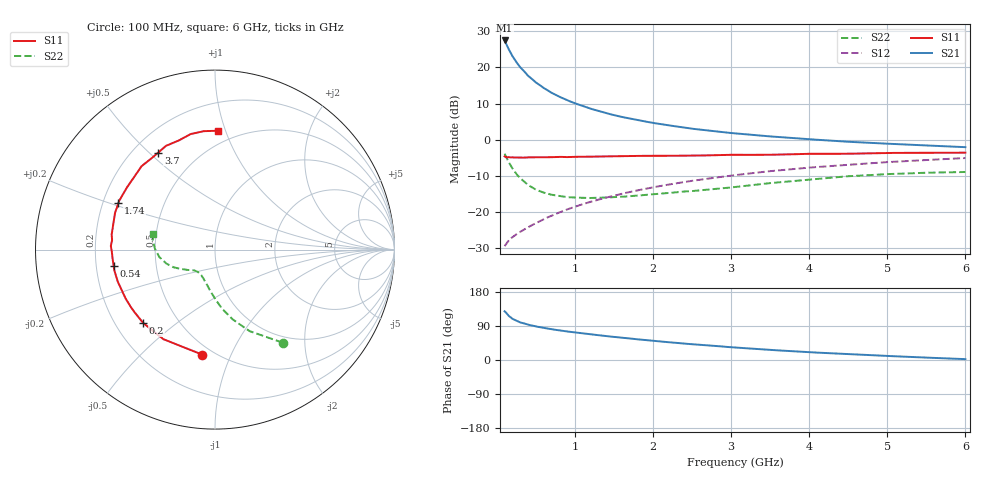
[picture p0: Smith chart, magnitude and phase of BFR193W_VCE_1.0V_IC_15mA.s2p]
! Infineon Technologies  Discrete & RF Semiconductors
! BFR193W
! VCE =  1.0 V,  IC =  15 mA
! Common Emitter S-Parameters:  Nov 2015
# GHz  S  MA  R  50
!  f  S11  S21  S12  S22
! GHz  MAG  ANG  MAG  ANG  MAG  ANG  MAG  ANG
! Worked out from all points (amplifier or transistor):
!   192 points, 100 MHz to 6 GHz, reference 50 ohm
!   highest |S21| = 27.4 dB at 100 MHz (marker M1)
!   |S21| within 3 dB of that: start of sweep to 167.3 MHz
!   unconditionally stable (mu >= 1): 794.5 MHz to 2.752 GHz
!   at 440 MHz: K = 0.84, MSG = 20.4 dB, |S12| = -23.7 dB
!   at 1.7 GHz: K = 1.04, MAG = 8.9 dB, |S12| = -14.5 dB
!   at 6 GHz: K = 0.94, MSG = 1.5 dB, |S12| = -5.1 dB
!   S11 on the Smith chart (normalised r, x): 100 MHz: 0.44, -0.79; 200 MHz: 0.32, -0.38; 540 MHz: 0.27, -0.08; 1.74 GHz: 0.26, +0.21; 3.7 GHz: 0.30, +0.53; 6 GHz: 0.40, +0.94
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0.1  0.5897 -96.8  23.57 128.6  0.0338 54.2  0.6407 -54.0
0.15  0.576 -119.9  17.99 116.6  0.0404 49.7  0.4945 -66.9
0.2  0.5721 -134.4  14.33 108.7  0.0452 48.9  0.4018 -75.7
0.24  0.568 -142.2  12.31 104.6  0.0485 49.4  0.3491 -81.0
0.26  0.5677 -145.6  11.46 102.7  0.0501 49.8  0.3278 -83.5
0.3  0.5677 -151.3  10.04 99.2  0.0534 50.7  0.294 -87.4
0.4  0.5704 -161.8  7.658 93.1  0.0616 53.7  0.2371 -95.6
0.5  0.5727 -168.4  6.195 88.5  0.0703 56.4  0.2045 -101.8
0.54  0.5721 -170.6  5.794 87.1  0.074 57.3  0.1969 -104.0
0.6  0.5728 -173.8  5.2 84.7  0.0797 58.5  0.186 -107.5
0.7  0.5737 -178.1  4.462 81.2  0.0891 60.1  0.1738 -111.5
0.8  0.5807 178.0  3.937 78.1  0.0987 61.4  0.1671 -115.3
0.9  0.5759 174.7  3.511 75.3  0.1087 62.2  0.1611 -118.4
1.1  0.5821 168.9  2.934 70.4  0.1286 62.9  0.1574 -124.0
1.4  0.5907 161.7  2.328 63.1  0.1584 63.1  0.1589 -130.6
1.74  0.5973 154.3  1.927 56.0  0.1933 62.1  0.167 -136.4
2.08  0.5992 147.4  1.656 49.2  0.228 60.6  0.179 -140.5
3.1  0.6186 129.9  1.212 32.3  0.3288 53.3  0.2253 -151.9
3.7  0.6264 120.3  1.072 24.2  0.3852 48.1  0.263 -159.9
4.1  0.6389 113.9  1 19.5  0.4194 44.6  0.2873 -165.8
5.1  0.6581 100.6  0.872 9.8  0.4974 35.8  0.3376 177.5
6  0.6625 88.5  0.79 2.3  0.5586 27.6  0.3584 166.3
